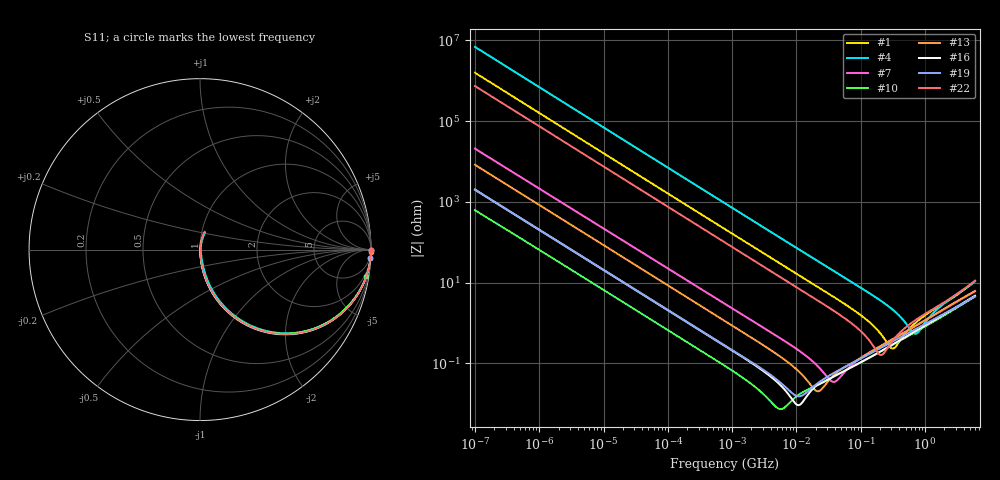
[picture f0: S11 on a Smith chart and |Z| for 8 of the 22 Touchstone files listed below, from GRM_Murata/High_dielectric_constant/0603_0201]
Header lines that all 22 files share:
!These Parameters are Measured in Series Mode Connection
!Data Generated on Mar 30, 2021
!  o--ll--o
!Port1  Port2
!  o------o
!Operation Temp=25[degC], DC Bias Voltage=0[V]
!Freq. Start=100[Hz] Stop=6[GHz] 401[Steps]
# Hz S RI R 50
!Freq.(Hz) S11(Real) S11(Imag) S21(Real) S21(Imag) S12(Real) S12(Imag) S22(Real) S22(Imag)
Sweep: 100 Hz to 6 GHz
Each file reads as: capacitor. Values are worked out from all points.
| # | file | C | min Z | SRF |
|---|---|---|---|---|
| 1 | GRM033B31H102KA12.s2p | 1 nF | 234 mohm | 317.1 MHz |
| 2 | GRM033B31H151MA12.s2p | 155 pF | 711 mohm | 885.1 MHz |
| 3 | GRM033B31H152KA12.s2p | 1.53 nF | 197 mohm | 266.4 MHz |
| 4 | GRM033B31H221KA12.s2p | 230 pF | 545 mohm | 704.5 MHz |
| 5 | GRM033B31H331KA12.s2p | 328 pF | 481 mohm | 585.2 MHz |
| 6 | GRM033B31H471MA12.s2p | 489 pF | 386 mohm | 457.3 MHz |
| 7 | GRM033C71A104KE14.s2p | 76 nF | 34.9 mohm | 38.76 MHz |
| 8 | GRM033C80E224ME15.s2p | 177 nF | 25.8 mohm | 23.37 MHz |
| 9 | GRM033C80E225ME01.s2p | 1.66 uF | 8.93 mohm | 7.558 MHz |
| 10 | GRM033C80E475ME05.s2p | 2.53 uF | 7.41 mohm | 5.96 MHz |
| 11 | GRM033C80G105ME05.s2p | 842 nF | 15.4 mohm | 11.04 MHz |
| 12 | GRM033C80G223KE01.s2p | 22 nF | 43.1 mohm | 65.28 MHz |
| 13 | GRM033C80G224ME90.s2p | 191 nF | 20.4 mohm | 22.11 MHz |
| 14 | GRM033C80G333KE01.s2p | 30.7 nF | 39.4 mohm | 56.44 MHz |
| 15 | GRM033C80G473KE01.s2p | 46.6 nF | 31.4 mohm | 44.57 MHz |
| 16 | GRM033C80J105ME05.s2p | 791 nF | 9.26 mohm | 11.07 MHz |
| 17 | GRM033C80J224KE90.s2p | 204 nF | 21.1 mohm | 21.68 MHz |
| 18 | GRM033C81E103KE14.s2p | 9.63 nF | 72.5 mohm | 98.34 MHz |
| 19 | GRM033D70E105ME15.s2p | 784 nF | 15.3 mohm | 11.27 MHz |
| 20 | GRM033D80E225ME47.s2p | 1.69 uF | 11.1 mohm | 7.488 MHz |
| 21 | GRM033R10J103KA01.s2p | 9.61 nF | 63.4 mohm | 99.4 MHz |
| 22 | GRM033R10J222KA01.s2p | 2.14 nF | 162 mohm | 208.3 MHz |
